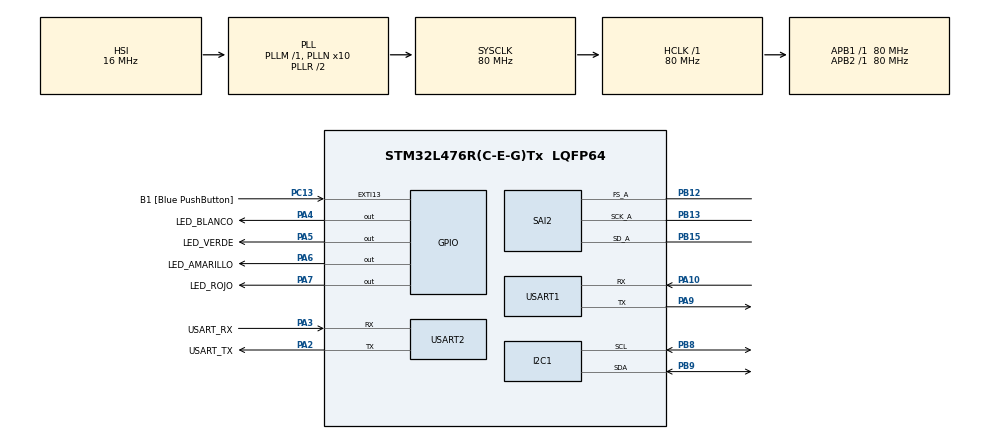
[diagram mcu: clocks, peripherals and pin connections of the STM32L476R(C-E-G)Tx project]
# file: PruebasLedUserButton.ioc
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Dma.Request0=SAI2_A
Dma.SAI2_A.0.Direction=DMA_PERIPH_TO_MEMORY
Dma.SAI2_A.0.Instance=DMA1_Channel6
Dma.SAI2_A.0.MemDataAlignment=DMA_MDATAALIGN_WORD
Dma.SAI2_A.0.MemInc=DMA_MINC_ENABLE
Dma.SAI2_A.0.Mode=DMA_CIRCULAR
Dma.SAI2_A.0.PeriphDataAlignment=DMA_PDATAALIGN_WORD
Dma.SAI2_A.0.PeriphInc=DMA_PINC_DISABLE
Dma.SAI2_A.0.Priority=DMA_PRIORITY_LOW
I2C1.Timing=0x10D19CE4
Mcu.Family=STM32L4
Mcu.Name=STM32L476R(C-E-G)Tx
Mcu.Package=LQFP64
NVIC.DMA1_Channel6_IRQn=true\:0\:0\:false\:false\:true\:false\:true\:true
NVIC.EXTI15_10_IRQn=true\:0\:0\:false\:false\:true\:true\:true\:true
NVIC.PriorityGroup=NVIC_PRIORITYGROUP_4
PA10.Mode=Asynchronous
PA10.Signal=USART1_RX
PA13\ (JTMS-SWDIO).GPIO_Label=TMS
PA13\ (JTMS-SWDIO).Mode=Serial_Wire
PA13\ (JTMS-SWDIO).Signal=SYS_JTMS-SWDIO
PA14\ (JTCK-SWCLK).GPIO_Label=TCK
PA14\ (JTCK-SWCLK).Mode=Serial_Wire
PA14\ (JTCK-SWCLK).Signal=SYS_JTCK-SWCLK
PA2.GPIO_Label=USART_TX
PA2.GPIO_Mode=GPIO_MODE_AF_PP
PA2.GPIO_PuPd=GPIO_NOPULL
PA2.GPIO_Speed=GPIO_SPEED_FREQ_VERY_HIGH
PA2.Mode=Asynchronous
PA2.Signal=USART2_TX
PA3.GPIO_Label=USART_RX
PA3.GPIO_Mode=GPIO_MODE_AF_PP
PA3.GPIO_PuPd=GPIO_NOPULL
PA3.GPIO_Speed=GPIO_SPEED_FREQ_VERY_HIGH
PA3.Mode=Asynchronous
PA3.Signal=USART2_RX
PA4.GPIO_Label=LED_BLANCO
PA4.Signal=GPIO_Output
PA5.GPIO_Label=LED_VERDE
PA5.GPIO_ModeDefaultOutputPP=GPIO_MODE_OUTPUT_PP
PA5.GPIO_PuPd=GPIO_NOPULL
PA5.GPIO_Speed=GPIO_SPEED_FREQ_LOW
PA5.Signal=GPIO_Output
PA6.GPIO_Label=LED_AMARILLO
PA6.Signal=GPIO_Output
PA7.GPIO_Label=LED_ROJO
PA7.Signal=GPIO_Output
PA9.Mode=Asynchronous
PA9.Signal=USART1_TX
PB12.Mode=SAI_A_Master
PB12.Signal=SAI2_FS_A
PB13.Mode=SAI_A_Master
PB13.Signal=SAI2_SCK_A
PB15.Mode=SAI_A_Master
PB15.Signal=SAI2_SD_A
PB3\ (JTDO-TRACESWO).GPIO_Label=SWO
PB3\ (JTDO-TRACESWO).Signal=SYS_JTDO-SWO
PB8.Mode=I2C
PB8.Signal=I2C1_SCL
PB9.Mode=I2C
PB9.Signal=I2C1_SDA
PC13.GPIO_Label=B1 [Blue PushButton]
PC13.GPIO_ModeDefaultEXTI=GPIO_MODE_IT_FALLING
PC13.GPIO_PuPd=GPIO_NOPULL
PC13.Signal=GPXTI13
PC14-OSC32_IN\ (PC14).Mode=LSE-External-Oscillator
PC14-OSC32_IN\ (PC14).Signal=RCC_OSC32_IN
PC15-OSC32_OUT\ (PC15).Mode=LSE-External-Oscillator
PC15-OSC32_OUT\ (PC15).Signal=RCC_OSC32_OUT
PH0-OSC_IN\ (PH0).Signal=RCC_OSC_IN
PH1-OSC_OUT\ (PH1).Signal=RCC_OSC_OUT
ProjectManager.HeapSize=0x200
ProjectManager.StackSize=0x400
ProjectManager.TargetToolchain=STM32CubeIDE
RCC.ADCFreq_Value=64000000
RCC.AHBFreq_Value=80000000
RCC.APB1Freq_Value=80000000
RCC.APB1TimFreq_Value=80000000
RCC.APB2Freq_Value=80000000
RCC.APB2TimFreq_Value=80000000
RCC.CortexFreq_Value=80000000
RCC.HCLKFreq_Value=80000000
RCC.HSE_VALUE=8000000
RCC.HSI_VALUE=16000000
RCC.MSI_VALUE=4000000
RCC.PLLN=10
RCC.PLLSourceVirtual=RCC_PLLSOURCE_HSI
RCC.PREFETCH_ENABLE=1
RCC.SYSCLKFreq_VALUE=80000000
RCC.SYSCLKSource=RCC_SYSCLKSOURCE_PLLCLK
RCC.USBFreq_Value=64000000
RCC.VCOOutputFreq_Value=160000000
SAI2.AudioFrequency-SAI_A_Master=SAI_AUDIO_FREQUENCY_16K
SAI2.AudioMode-SAI_A_Master=SAI_MODEMASTER_RX
SAI2.BasicDataSize-SAI_A_Master=SAI_PROTOCOL_DATASIZE_24BIT
SAI2.ErrorAudioFreq-SAI_A_Master=11.6 %
SAI2.InitProtocol-SAI_A_Master=Enable
SAI2.Instance-SAI_A_Master=SAI$Index_Block_A
SAI2.MClockEnable-SAI_A_Master=SAI_MASTERCLOCK_DISABLE
SAI2.RealAudioFreq-SAI_A_Master=17.857 KHz
SAI2.VirtualMode-SAI_A_Master=VM_MASTER
SAI2.VirtualProtocol-SAI_A_BASIC=VM_BASIC_PROTOCOL
USART1.VirtualMode-Asynchronous=VM_ASYNC
USART2.VirtualMode-Asynchronous=VM_ASYNC
VP_SAI2_VP_$IpInstance_SAIA_SAI_BASIC.Mode=SAI_A_BASIC
board=NUCLEO-L476RG

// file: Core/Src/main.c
/* USER CODE BEGIN Header */
/**
  ******************************************************************************
  * @file           : main.c
  * @brief          : Main program body
  ******************************************************************************
  * @attention
  *
  * Copyright (c) 2026 STMicroelectronics.
  * All rights reserved.
  *
  * This software is licensed under terms that can be found in the LICENSE file
  * in the root directory of this software component.
  * If no LICENSE file comes with this software, it is provided AS-IS.
  *
  ******************************************************************************
  */
/* USER CODE END Header */
#include "main.h"

I2C_HandleTypeDef hi2c1;

SAI_HandleTypeDef hsai_BlockA2;
DMA_HandleTypeDef hdma_sai2_a;

UART_HandleTypeDef huart1;
UART_HandleTypeDef huart2;

/* USER CODE BEGIN PV */
volatile uint8_t programa_corriendo = 0; // 0 = Parado, 1 = Corriendo
uint32_t ultimo_tiempo_boton = 0;        // Para evitar el rebote del botón
/* USER CODE END PV */

void SystemClock_Config(void);
static void MX_GPIO_Init(void);
static void MX_DMA_Init(void);
static void MX_USART2_UART_Init(void);
static void MX_USART1_UART_Init(void);
static void MX_I2C1_Init(void);
static void MX_SAI2_Init(void);

int main(void)
{

  /* MCU Configuration--------------------------------------------------------*/

  /* Reset of all peripherals, Initializes the Flash interface and the Systick. */
  HAL_Init();

  /* Configure the system clock */
  SystemClock_Config();

  /* Initialize all configured peripherals */
  MX_GPIO_Init();
  MX_DMA_Init();
  MX_USART2_UART_Init();
  MX_USART1_UART_Init();
  MX_I2C1_Init();
  MX_SAI2_Init();

  /* Infinite loop */
  /* USER CODE BEGIN WHILE */
    while (1)
    {
        if (programa_corriendo == 1)
        {
            // 1. Enciende el LED BLANCO para indicar que el programa arrancó
            HAL_GPIO_WritePin(LED_BLANCO_GPIO_Port, LED_BLANCO_Pin, GPIO_PIN_SET);

            // 2. Animación de los LEDs (Verde -> Amarillo -> Rojo)

            HAL_GPIO_WritePin(LED_VERDE_GPIO_Port, LED_VERDE_Pin, GPIO_PIN_SET); // Enciende Verde
            HAL_Delay(300);
            HAL_GPIO_WritePin(LED_VERDE_GPIO_Port, LED_VERDE_Pin, GPIO_PIN_RESET); // Apaga Verde

            if(!programa_corriendo) continue; // Si se pulsó el botón (y ahora es 0), aborta

            HAL_GPIO_WritePin(LED_AMARILLO_GPIO_Port, LED_AMARILLO_Pin, GPIO_PIN_SET); // Enciende Amarillo
            HAL_Delay(300);
            HAL_GPIO_WritePin(LED_AMARILLO_GPIO_Port, LED_AMARILLO_Pin, GPIO_PIN_RESET); // Apaga Amarillo

            if(!programa_corriendo) continue;

            HAL_GPIO_WritePin(LED_ROJO_GPIO_Port, LED_ROJO_Pin, GPIO_PIN_SET); // Enciende Rojo
            HAL_Delay(300);
            HAL_GPIO_WritePin(LED_ROJO_GPIO_Port, LED_ROJO_Pin, GPIO_PIN_RESET); // Apaga Rojo
        }
        else
        {
            // Si el programa está parado (programa_corriendo == 0), APAGA TODOS los LEDs
            HAL_GPIO_WritePin(LED_BLANCO_GPIO_Port, LED_BLANCO_Pin, GPIO_PIN_RESET);
            HAL_GPIO_WritePin(LED_VERDE_GPIO_Port, LED_VERDE_Pin, GPIO_PIN_RESET);
            HAL_GPIO_WritePin(LED_AMARILLO_GPIO_Port, LED_AMARILLO_Pin, GPIO_PIN_RESET);
            HAL_GPIO_WritePin(LED_ROJO_GPIO_Port, LED_ROJO_Pin, GPIO_PIN_RESET);
        }

    /* USER CODE END WHILE */

  }
}

void SystemClock_Config(void)
{
  RCC_OscInitTypeDef RCC_OscInitStruct = {0};
  RCC_ClkInitTypeDef RCC_ClkInitStruct = {0};

  /** Configure the main internal regulator output voltage
  */
  if (HAL_PWREx_ControlVoltageScaling(PWR_REGULATOR_VOLTAGE_SCALE1) != HAL_OK)
  {
    Error_Handler();
  }

  /** Initializes the RCC Oscillators according to the specified parameters
  * in the RCC_OscInitTypeDef structure.
  */
  RCC_OscInitStruct.OscillatorType = RCC_OSCILLATORTYPE_HSI;
  RCC_OscInitStruct.HSIState = RCC_HSI_ON;
  RCC_OscInitStruct.HSICalibrationValue = RCC_HSICALIBRATION_DEFAULT;
  RCC_OscInitStruct.PLL.PLLState = RCC_PLL_ON;
  RCC_OscInitStruct.PLL.PLLSource = RCC_PLLSOURCE_HSI;
  RCC_OscInitStruct.PLL.PLLM = 1;
  RCC_OscInitStruct.PLL.PLLN = 10;
  RCC_OscInitStruct.PLL.PLLP = RCC_PLLP_DIV7;
  RCC_OscInitStruct.PLL.PLLQ = RCC_PLLQ_DIV2;
  RCC_OscInitStruct.PLL.PLLR = RCC_PLLR_DIV2;
  if (HAL_RCC_OscConfig(&RCC_OscInitStruct) != HAL_OK)
  {
    Error_Handler();
  }

  /** Initializes the CPU, AHB and APB buses clocks
  */
  RCC_ClkInitStruct.ClockType = RCC_CLOCKTYPE_HCLK|RCC_CLOCKTYPE_SYSCLK
                              |RCC_CLOCKTYPE_PCLK1|RCC_CLOCKTYPE_PCLK2;
  RCC_ClkInitStruct.SYSCLKSource = RCC_SYSCLKSOURCE_PLLCLK;
  RCC_ClkInitStruct.AHBCLKDivider = RCC_SYSCLK_DIV1;
  RCC_ClkInitStruct.APB1CLKDivider = RCC_HCLK_DIV1;
  RCC_ClkInitStruct.APB2CLKDivider = RCC_HCLK_DIV1;

  if (HAL_RCC_ClockConfig(&RCC_ClkInitStruct, FLASH_LATENCY_4) != HAL_OK)
  {
    Error_Handler();
  }
}

static void MX_I2C1_Init(void)
{

  hi2c1.Instance = I2C1;
  hi2c1.Init.Timing = 0x10D19CE4;
  hi2c1.Init.OwnAddress1 = 0;
  hi2c1.Init.AddressingMode = I2C_ADDRESSINGMODE_7BIT;
  hi2c1.Init.DualAddressMode = I2C_DUALADDRESS_DISABLE;
  hi2c1.Init.OwnAddress2 = 0;
  hi2c1.Init.OwnAddress2Masks = I2C_OA2_NOMASK;
  hi2c1.Init.GeneralCallMode = I2C_GENERALCALL_DISABLE;
  hi2c1.Init.NoStretchMode = I2C_NOSTRETCH_DISABLE;
  if (HAL_I2C_Init(&hi2c1) != HAL_OK)
  {
    Error_Handler();
  }

  /** Configure Analogue filter
  */
  if (HAL_I2CEx_ConfigAnalogFilter(&hi2c1, I2C_ANALOGFILTER_ENABLE) != HAL_OK)
  {
    Error_Handler();
  }

  /** Configure Digital filter
  */
  if (HAL_I2CEx_ConfigDigitalFilter(&hi2c1, 0) != HAL_OK)
  {
    Error_Handler();
  }

}

static void MX_SAI2_Init(void)
{

  hsai_BlockA2.Instance = SAI2_Block_A;
  hsai_BlockA2.Init.AudioMode = SAI_MODEMASTER_RX;
  hsai_BlockA2.Init.Synchro = SAI_ASYNCHRONOUS;
  hsai_BlockA2.Init.OutputDrive = SAI_OUTPUTDRIVE_DISABLE;
  hsai_BlockA2.Init.NoDivider = SAI_MASTERDIVIDER_ENABLE;
  hsai_BlockA2.Init.FIFOThreshold = SAI_FIFOTHRESHOLD_EMPTY;
  hsai_BlockA2.Init.AudioFrequency = SAI_AUDIO_FREQUENCY_16K;
  hsai_BlockA2.Init.SynchroExt = SAI_SYNCEXT_DISABLE;
  hsai_BlockA2.Init.MonoStereoMode = SAI_STEREOMODE;
  hsai_BlockA2.Init.CompandingMode = SAI_NOCOMPANDING;
  if (HAL_SAI_InitProtocol(&hsai_BlockA2, SAI_I2S_STANDARD, SAI_PROTOCOL_DATASIZE_24BIT, 2) != HAL_OK)
  {
    Error_Handler();
  }

}

static void MX_USART1_UART_Init(void)
{

  huart1.Instance = USART1;
  huart1.Init.BaudRate = 115200;
  huart1.Init.WordLength = UART_WORDLENGTH_8B;
  huart1.Init.StopBits = UART_STOPBITS_1;
  huart1.Init.Parity = UART_PARITY_NONE;
  huart1.Init.Mode = UART_MODE_TX_RX;
  huart1.Init.HwFlowCtl = UART_HWCONTROL_NONE;
  huart1.Init.OverSampling = UART_OVERSAMPLING_16;
  huart1.Init.OneBitSampling = UART_ONE_BIT_SAMPLE_DISABLE;
  huart1.AdvancedInit.AdvFeatureInit = UART_ADVFEATURE_NO_INIT;
  if (HAL_UART_Init(&huart1) != HAL_OK)
  {
    Error_Handler();
  }

}

static void MX_USART2_UART_Init(void)
{

  huart2.Instance = USART2;
  huart2.Init.BaudRate = 115200;
  huart2.Init.WordLength = UART_WORDLENGTH_8B;
  huart2.Init.StopBits = UART_STOPBITS_1;
  huart2.Init.Parity = UART_PARITY_NONE;
  huart2.Init.Mode = UART_MODE_TX_RX;
  huart2.Init.HwFlowCtl = UART_HWCONTROL_NONE;
  huart2.Init.OverSampling = UART_OVERSAMPLING_16;
  huart2.Init.OneBitSampling = UART_ONE_BIT_SAMPLE_DISABLE;
  huart2.AdvancedInit.AdvFeatureInit = UART_ADVFEATURE_NO_INIT;
  if (HAL_UART_Init(&huart2) != HAL_OK)
  {
    Error_Handler();
  }

}

static void MX_DMA_Init(void)
{

  /* DMA controller clock enable */
  __HAL_RCC_DMA1_CLK_ENABLE();

  /* DMA interrupt init */
  /* DMA1_Channel6_IRQn interrupt configuration */
  HAL_NVIC_SetPriority(DMA1_Channel6_IRQn, 0, 0);
  HAL_NVIC_EnableIRQ(DMA1_Channel6_IRQn);

}

static void MX_GPIO_Init(void)
{
  GPIO_InitTypeDef GPIO_InitStruct = {0};

  /* GPIO Ports Clock Enable */
  __HAL_RCC_GPIOC_CLK_ENABLE();
  __HAL_RCC_GPIOH_CLK_ENABLE();
  __HAL_RCC_GPIOA_CLK_ENABLE();
  __HAL_RCC_GPIOB_CLK_ENABLE();

  /*Configure GPIO pin Output Level */
  HAL_GPIO_WritePin(GPIOA, LED_BLANCO_Pin|LED_VERDE_Pin|LED_AMARILLO_Pin|LED_ROJO_Pin, GPIO_PIN_RESET);

  /*Configure GPIO pin : B1_Pin */
  GPIO_InitStruct.Pin = B1_Pin;
  GPIO_InitStruct.Mode = GPIO_MODE_IT_FALLING;
  GPIO_InitStruct.Pull = GPIO_NOPULL;
  HAL_GPIO_Init(B1_GPIO_Port, &GPIO_InitStruct);

  /*Configure GPIO pins : LED_BLANCO_Pin LED_VERDE_Pin LED_AMARILLO_Pin LED_ROJO_Pin */
  GPIO_InitStruct.Pin = LED_BLANCO_Pin|LED_VERDE_Pin|LED_AMARILLO_Pin|LED_ROJO_Pin;
  GPIO_InitStruct.Mode = GPIO_MODE_OUTPUT_PP;
  GPIO_InitStruct.Pull = GPIO_NOPULL;
  GPIO_InitStruct.Speed = GPIO_SPEED_FREQ_LOW;
  HAL_GPIO_Init(GPIOA, &GPIO_InitStruct);

  /* EXTI interrupt init*/
  HAL_NVIC_SetPriority(EXTI15_10_IRQn, 0, 0);
  HAL_NVIC_EnableIRQ(EXTI15_10_IRQn);

}

/* USER CODE BEGIN 4 */
void HAL_GPIO_EXTI_Callback(uint16_t GPIO_Pin)
{
    if(GPIO_Pin == B1_Pin)
    {
        // Antirrebote de 250ms
        if (HAL_GetTick() - ultimo_tiempo_boton > 250)
        {
            programa_corriendo = !programa_corriendo; // Cambia entre encendido/apagado
            ultimo_tiempo_boton = HAL_GetTick();
        }
    }
}
/* USER CODE END 4 */

void Error_Handler(void)
{
  __disable_irq();
  while (1)
  {
  }
}
